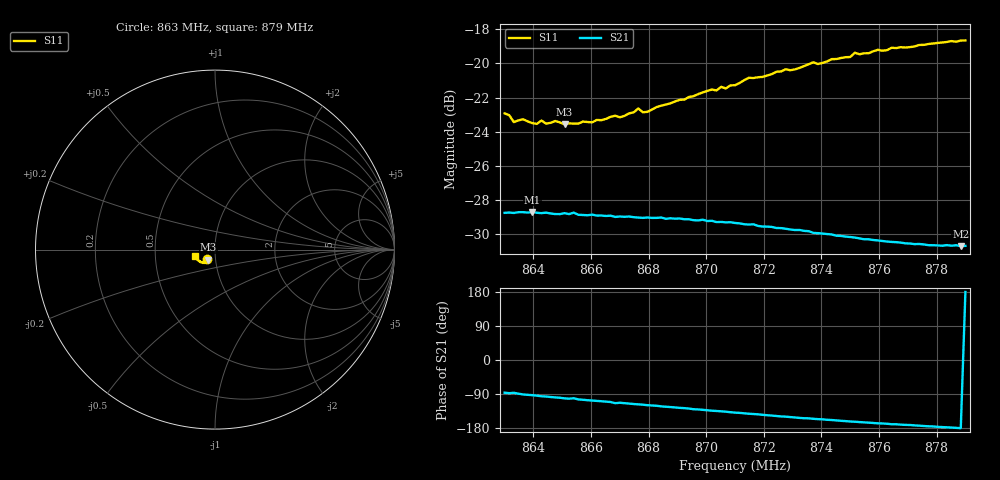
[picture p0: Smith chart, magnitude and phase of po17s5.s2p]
# HZ S RI R 50
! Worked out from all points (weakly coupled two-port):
!   101 points, 863 MHz to 879 MHz, reference 50 ohm
!   highest |S21| = -28.68 dB at 863.96 MHz (marker M1); lowest = -30.7 dB at 878.84 MHz (marker M2)
!   lowest |S11| = -23.6 dB at 865.08 MHz (marker M3), VSWR 1.14, Z = 46.2 - j5.12 ohm
!   |S11| at or under -10 dB: start of sweep to end of sweep
!   S12 and S22 are empty: the file has one direction only
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8.63e8  -0.0472 -0.0537  0.00233 -0.0365  0 0  0 0
8.6316e8  -0.0462 -0.0534  0.00157 -0.0366  0 0  0 0
8.6332e8  -0.0405 -0.0539  0.00215 -0.0365  0 0  0 0
8.6364e8  -0.0415 -0.0547  -0.000562 -0.0367  0 0  0 0
8.6396e8  -0.0396 -0.054  -0.00177 -0.0368  0 0  0 0
8.6476e8  -0.0397 -0.0551  -0.00555 -0.0359  0 0  0 0
8.6508e8  -0.0369 -0.0552  -0.00709 -0.0358  0 0  0 0
8.6572e8  -0.0356 -0.0575  -0.0093 -0.0348  0 0  0 0
8.67e8  -0.0359 -0.0596  -0.0138 -0.0329  0 0  0 0
8.6764e8  -0.0369 -0.064  -0.0161 -0.0316  0 0  0 0
8.6796e8  -0.0355 -0.0629  -0.0173 -0.0309  0 0  0 0
8.6844e8  -0.0366 -0.0658  -0.019 -0.0299  0 0  0 0
8.71e8  -0.0476 -0.0721  -0.0258 -0.0225  0 0  0 0
8.7148e8  -0.0519 -0.0746  -0.0266 -0.0209  0 0  0 0
8.7308e8  -0.0624 -0.073  -0.0287 -0.0155  0 0  0 0
8.7372e8  -0.0679 -0.0745  -0.029 -0.0134  0 0  0 0
8.7388e8  -0.0684 -0.0725  -0.0292 -0.0129  0 0  0 0
8.75e8  -0.0792 -0.0681  -0.0296 -0.00945  0 0  0 0
8.7516e8  -0.082 -0.0695  -0.0296 -0.0091  0 0  0 0
8.7644e8  -0.0928 -0.0613  -0.0296 -0.00546  0 0  0 0
8.7884e8  -0.1093 -0.041  -0.0292 -9.9e-05  0 0  0 0
8.79e8  -0.1103 -0.0384  -0.0293 0.000265  0 0  0 0
